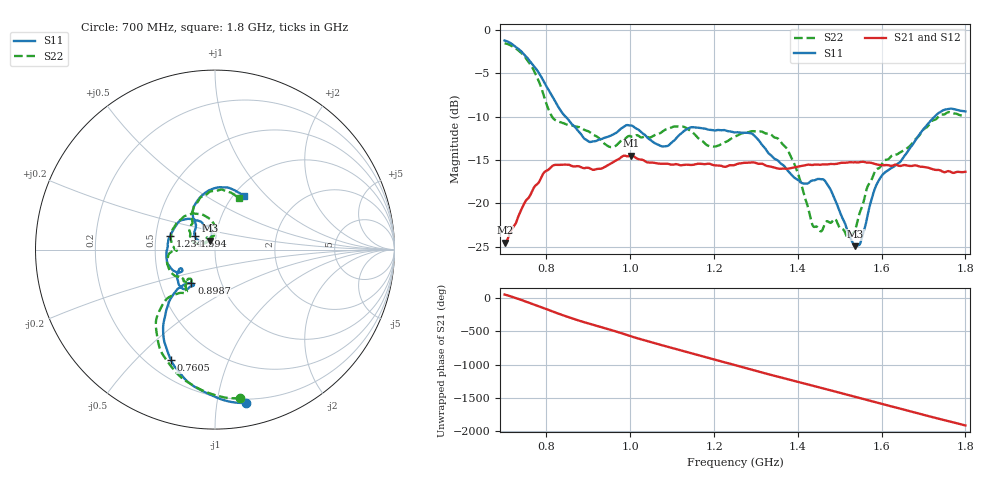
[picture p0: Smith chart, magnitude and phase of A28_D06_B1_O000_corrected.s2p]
! Created with skrf 1.9.0 (http://scikit-rf.org).
# Hz S RI R 50.0
!freq ReS11 ImS11 ReS21 ImS21 ReS12 ImS12 ReS22 ImS22
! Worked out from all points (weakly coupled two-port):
!   1601 points, 700 MHz to 1.8 GHz, reference 50 ohm
!   highest |S21| = -14.48 dB at 1.002 GHz (marker M1); lowest = -24.5 dB at 700.7 MHz (marker M2)
!   lowest |S11| = -24.9 dB at 1.537 GHz (marker M3), VSWR 1.12, Z = 47.2 + j4.77 ohm
!   |S11| at or under -10 dB: 845.9 MHz to 1.726 GHz (880.2 MHz wide, 68.4 % of centre)
!   |S22| runs from -24.0 to -1.5 dB; largest |S21 - S12| = 0.0034
!   S11 on the Smith chart (normalised r, x): 700 MHz: 0.17, -1.21; 760.5 MHz: 0.29, -0.64; 898.7 MHz: 0.72, -0.29; 1.234 GHz: 0.59, +0.09; 1.594 GHz: 0.79, +0.12; 1.8 GHz: 1.12, +0.75
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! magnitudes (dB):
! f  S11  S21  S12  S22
! 700 MHz  -1.2  -24.5  -24.3  -1.5
! 700.7 MHz  -1.2  -24.5  -24.2  -1.5
! 760.5 MHz  -3.6  -19.1  -19.0  -3.9
! 816.2 MHz  -7.8  -15.6  -15.7  -10.2
! 883.6 MHz  -12.1  -15.8  -15.7  -11.3
! 898.7 MHz  -12.8  -15.9  -15.9  -11.6
! 953 MHz  -12.2  -15.4  -15.4  -13.5
! 1.002 GHz  -11.0  -14.5  -14.6  -12.3
! 1.067 GHz  -13.2  -15.4  -15.3  -12.0
! 1.145 GHz  -11.2  -15.6  -15.6  -11.7
! 1.234 GHz  -11.7  -15.7  -15.7  -12.8
! 1.25 GHz  -11.8  -15.5  -15.5  -12.3
! 1.357 GHz  -15.3  -16.0  -15.9  -12.7
! 1.395 GHz  -17.1  -15.8  -15.8  -15.8
! 1.434 GHz  -17.4  -15.6  -15.5  -22.3
! 1.47 GHz  -17.8  -15.5  -15.5  -22.0
! 1.521 GHz  -23.5  -15.3  -15.3  -24.0
! 1.537 GHz  -24.9  -15.3  -15.3  -23.0
! 1.594 GHz  -17.2  -15.5  -15.5  -15.9
! 1.617 GHz  -16.1  -15.6  -15.6  -14.9
! 1.735 GHz  -9.6  -16.1  -16.2  -10.0
! 1.8 GHz  -9.4  -16.3  -16.3  -10.0
